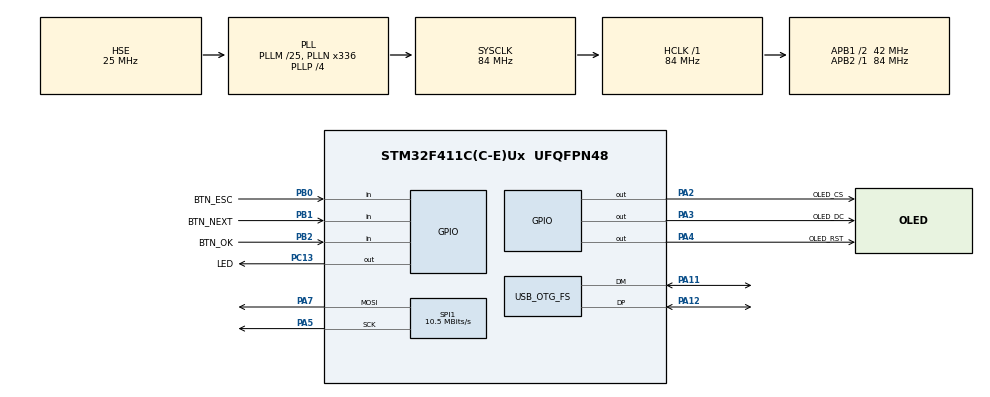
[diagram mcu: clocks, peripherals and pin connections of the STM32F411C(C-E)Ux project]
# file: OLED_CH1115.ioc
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Dma.Request0=SPI1_TX
Dma.SPI1_TX.0.Direction=DMA_MEMORY_TO_PERIPH
Dma.SPI1_TX.0.FIFOMode=DMA_FIFOMODE_DISABLE
Dma.SPI1_TX.0.Instance=DMA2_Stream2
Dma.SPI1_TX.0.MemDataAlignment=DMA_MDATAALIGN_BYTE
Dma.SPI1_TX.0.MemInc=DMA_MINC_ENABLE
Dma.SPI1_TX.0.Mode=DMA_NORMAL
Dma.SPI1_TX.0.PeriphDataAlignment=DMA_PDATAALIGN_BYTE
Dma.SPI1_TX.0.PeriphInc=DMA_PINC_DISABLE
Dma.SPI1_TX.0.Priority=DMA_PRIORITY_LOW
Mcu.Family=STM32F4
Mcu.Name=STM32F411C(C-E)Ux
Mcu.Package=UFQFPN48
NVIC.DMA2_Stream2_IRQn=true\:0\:0\:false\:false\:true\:false\:true\:true
NVIC.OTG_FS_IRQn=true\:0\:0\:false\:false\:true\:false\:true\:true
NVIC.PriorityGroup=NVIC_PRIORITYGROUP_4
NVIC.TIM1_TRG_COM_TIM11_IRQn=true\:15\:0\:false\:false\:true\:false\:true\:true
NVIC.TimeBase=TIM1_TRG_COM_TIM11_IRQn
NVIC.TimeBaseIP=TIM11
PA0-WKUP.Mode=SYS_WakeUp0
PA0-WKUP.Signal=SYS_WKUP
PA11.Mode=Device_Only
PA11.Signal=USB_OTG_FS_DM
PA12.Mode=Device_Only
PA12.Signal=USB_OTG_FS_DP
PA13.Mode=Serial_Wire
PA13.Signal=SYS_JTMS-SWDIO
PA14.Mode=Serial_Wire
PA14.Signal=SYS_JTCK-SWCLK
PA2.GPIO_Label=OLED_CS
PA2.Signal=GPIO_Output
PA3.GPIO_Label=OLED_DC
PA3.Signal=GPIO_Output
PA4.GPIO_Label=OLED_RST
PA4.Signal=GPIO_Output
PA5.GPIO_Speed=GPIO_SPEED_FREQ_HIGH
PA5.Mode=TX_Only_Simplex_Unidirect_Master
PA5.Signal=SPI1_SCK
PA7.GPIO_Speed=GPIO_SPEED_FREQ_HIGH
PA7.Mode=TX_Only_Simplex_Unidirect_Master
PA7.Signal=SPI1_MOSI
PB0.GPIO_Label=BTN_ESC
PB0.GPIO_PuPd=GPIO_PULLDOWN
PB0.Signal=GPIO_Input
PB1.GPIO_Label=BTN_NEXT
PB1.GPIO_PuPd=GPIO_PULLDOWN
PB1.Signal=GPIO_Input
PB2.GPIO_Label=BTN_OK
PB2.GPIO_PuPd=GPIO_PULLDOWN
PB2.Signal=GPIO_Input
PC13-ANTI_TAMP.GPIO_Label=LED
PC13-ANTI_TAMP.Signal=GPIO_Output
PH0\ -\ OSC_IN.Mode=HSE-External-Oscillator
PH0\ -\ OSC_IN.Signal=RCC_OSC_IN
PH1\ -\ OSC_OUT.Mode=HSE-External-Oscillator
PH1\ -\ OSC_OUT.Signal=RCC_OSC_OUT
ProjectManager.HeapSize=0x200
ProjectManager.StackSize=0x400
ProjectManager.TargetToolchain=STM32CubeIDE
RCC.48MHZClocksFreq_Value=48000000
RCC.AHBFreq_Value=84000000
RCC.APB1CLKDivider=RCC_HCLK_DIV2
RCC.APB1Freq_Value=42000000
RCC.APB1TimFreq_Value=84000000
RCC.APB2Freq_Value=84000000
RCC.APB2TimFreq_Value=84000000
RCC.CortexFreq_Value=84000000
RCC.HCLKFreq_Value=84000000
RCC.HSE_VALUE=25000000
RCC.HSI_VALUE=16000000
RCC.LSE_VALUE=32768
RCC.PLLM=25
RCC.PLLN=336
RCC.PLLP=RCC_PLLP_DIV4
RCC.PLLQ=7
RCC.SYSCLKFreq_VALUE=84000000
RCC.SYSCLKSource=RCC_SYSCLKSOURCE_PLLCLK
RCC.VCOOutputFreq_Value=336000000
SPI1.BaudRatePrescaler=SPI_BAUDRATEPRESCALER_8
SPI1.CLKPhase=SPI_PHASE_2EDGE
SPI1.CLKPolarity=SPI_POLARITY_HIGH
SPI1.CalculateBaudRate=10.5 MBits/s
SPI1.Direction=SPI_DIRECTION_2LINES
SPI1.Mode=SPI_MODE_MASTER
SPI1.VirtualType=VM_MASTER
USB_DEVICE.CLASS_NAME_FS=CDC
USB_DEVICE.VirtualMode=Cdc
USB_DEVICE.VirtualModeFS=Cdc_FS
USB_OTG_FS.VirtualMode=Device_Only
VP_SYS_VS_tim11.Mode=TIM11
VP_TIM5_VS_ClockSourceINT.Mode=Internal
VP_USB_DEVICE_VS_USB_DEVICE_CDC_FS.Mode=CDC_FS
board=custom

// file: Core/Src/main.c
/* USER CODE BEGIN Header */
/**
  ******************************************************************************
  * @file           : main.c
  * @brief          : Main program body
  ******************************************************************************
  * @attention
  *
  * Copyright (c) 2026 STMicroelectronics.
  * All rights reserved.
  *
  * This software is licensed under terms that can be found in the LICENSE file
  * in the root directory of this software component.
  * If no LICENSE file comes with this software, it is provided AS-IS.
  *
  ******************************************************************************
  */
/* USER CODE END Header */
#include "main.h"
#include "dma.h"
#include "spi.h"
#include "tim.h"
#include "usb_device.h"
#include "gpio.h"

/* USER CODE BEGIN Includes */
#include <string.h>
#include <stdbool.h>
#include "screen.h"
#include "button.h"
/* USER CODE END Includes */

/* USER CODE BEGIN PV */
uint8_t tick = 0;     // отсчет для перемены направления движения при анимации
int8_t direction = 1; // направление анимации движения угла           TODO: временно
int8_t run_count = 0; // количество пробегов пузырька                 TODO: временно
/* USER CODE END PV */

void SystemClock_Config(void);

/* USER CODE BEGIN 0 */
// ------------------------------------------------------------------------------
#ifndef U8G2
void SendDataByte(uint8_t value)
{
	const uint8_t pData[1] = { value };
	uint16_t Size = 1;

	HAL_GPIO_WritePin(OLED_DC_GPIO_Port, OLED_DC_Pin, GPIO_PIN_SET);
	HAL_SPI_Transmit_DMA(&hspi1, pData, Size);

	return;
}

void SendCommandByte(uint8_t value)
{
	const uint8_t pData[1] = { value };
	uint16_t Size = 1;

	HAL_GPIO_WritePin(OLED_DC_GPIO_Port, OLED_DC_Pin, GPIO_PIN_RESET);
	HAL_SPI_Transmit_DMA(&hspi1, pData, Size);

	return;
}
#endif // U8G2
// ------------------------------------------------------------------------------

/* USER CODE END 0 */

int main(void)
{

  /* MCU Configuration--------------------------------------------------------*/

  /* Reset of all peripherals, Initializes the Flash interface and the Systick. */
  HAL_Init();

  /* Configure the system clock */
  SystemClock_Config();

  /* Initialize all configured peripherals */
  MX_GPIO_Init();
  MX_DMA_Init();
  MX_SPI1_Init();
  MX_USB_DEVICE_Init();
  MX_TIM5_Init();

  /* Infinite loop */
  /* USER CODE BEGIN WHILE */
  void main_OLED_CH1115(void);
  main_OLED_CH1115();

  while (true)
  {
    /* USER CODE END WHILE */

  }
}

void SystemClock_Config(void)
{
  RCC_OscInitTypeDef RCC_OscInitStruct = {0};
  RCC_ClkInitTypeDef RCC_ClkInitStruct = {0};

  /** Configure the main internal regulator output voltage
  */
  __HAL_RCC_PWR_CLK_ENABLE();
  __HAL_PWR_VOLTAGESCALING_CONFIG(PWR_REGULATOR_VOLTAGE_SCALE1);

  /** Initializes the RCC Oscillators according to the specified parameters
  * in the RCC_OscInitTypeDef structure.
  */
  RCC_OscInitStruct.OscillatorType = RCC_OSCILLATORTYPE_HSE;
  RCC_OscInitStruct.HSEState = RCC_HSE_ON;
  RCC_OscInitStruct.PLL.PLLState = RCC_PLL_ON;
  RCC_OscInitStruct.PLL.PLLSource = RCC_PLLSOURCE_HSE;
  RCC_OscInitStruct.PLL.PLLM = 25;
  RCC_OscInitStruct.PLL.PLLN = 336;
  RCC_OscInitStruct.PLL.PLLP = RCC_PLLP_DIV4;
  RCC_OscInitStruct.PLL.PLLQ = 7;
  if (HAL_RCC_OscConfig(&RCC_OscInitStruct) != HAL_OK)
  {
    Error_Handler();
  }

  /** Initializes the CPU, AHB and APB buses clocks
  */
  RCC_ClkInitStruct.ClockType = RCC_CLOCKTYPE_HCLK|RCC_CLOCKTYPE_SYSCLK
                              |RCC_CLOCKTYPE_PCLK1|RCC_CLOCKTYPE_PCLK2;
  RCC_ClkInitStruct.SYSCLKSource = RCC_SYSCLKSOURCE_PLLCLK;
  RCC_ClkInitStruct.AHBCLKDivider = RCC_SYSCLK_DIV1;
  RCC_ClkInitStruct.APB1CLKDivider = RCC_HCLK_DIV2;
  RCC_ClkInitStruct.APB2CLKDivider = RCC_HCLK_DIV1;

  if (HAL_RCC_ClockConfig(&RCC_ClkInitStruct, FLASH_LATENCY_2) != HAL_OK)
  {
    Error_Handler();
  }
}

void HAL_TIM_PeriodElapsedCallback(TIM_HandleTypeDef *htim)
{
  if (htim->Instance == TIM11)
  {
    HAL_IncTick();
  }
  /* USER CODE BEGIN Callback 1 */
  if (htim->Instance == TIM11)
  {
	  BUTTON_TimerProcess();
	  if (tick >= 100)
	  {
		  tick = 0;
		  _y_angle_value += direction;
		  _charge_percent += direction * 3;
		  if (_y_angle_value >= 9)
		  {
			  direction = -1;
			  ++run_count;
		  }
		  if (_y_angle_value <= -9)
		  {
			  direction = 1;
			  ++run_count;
		  }
	  }
	  else
	  {
		  ++tick;
	  }
//	  if (run_count >= 4)
//	  {
//		  run_count = 0;
//		  _angle_mode = _angle_mode == 0 ? 1 : 0;
//		  _current_ref_point = _current_ref_point == AbsRef ? IncRef : AbsRef;
//		  _is_bluetooth_connected = !_is_bluetooth_connected;
//	  }
  }

  /* USER CODE END Callback 1 */
}

void Error_Handler(void)
{
  __disable_irq();
  while (1)
  {
  }
}
